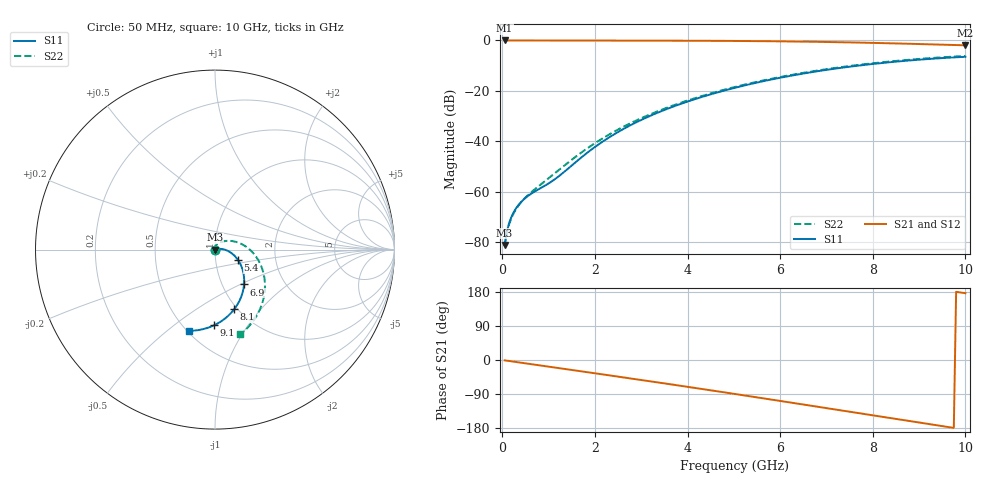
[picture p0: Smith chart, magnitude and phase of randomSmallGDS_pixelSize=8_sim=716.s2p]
! freq	dB(S11)	phase(S11)	dB(S12)	phase(S12)
!  dB(S21)	phase(S21)	dB(S22)	phase(S22)
!S-par simulation data
#  GHz  S  DB  R 50
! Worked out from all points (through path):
!   200 points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, 50 MHz to 10 GHz, reference 50 ohm
!   highest |S21| = 0.00 dB at 50 MHz (marker M1); lowest = -1.9 dB at 10 GHz (marker M2)
!   group delay of S21, straight-line fit = 51.3 ps
!   lowest |S11| = -81.2 dB at 50 MHz (marker M3), VSWR 1.00, Z = 50 - j0.00792 ohm
!   |S11| at or under -10 dB: start of sweep to 7.682 GHz
!   |S22| runs from -81.7 to -6.2 dB; largest |S21 - S12| = 0
!   S11 on the Smith chart (normalised r, x): 50 MHz: 1.00, -0.00; 5.4 GHz: 1.28, -0.15; 6.9 GHz: 1.26, -0.52; 8.1 GHz: 0.97, -0.73; 9.1 GHz: 0.69, -0.71; 10 GHz: 0.51, -0.60
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0.05  -81.23 -65.8  -0.00 -0.9  -0.00 -0.9  -81.67 -70.4
0.1  -75.74 -75.1  -0.00 -1.8  -0.00 -1.8  -76.22 -86.1
0.15  -72.35 -77.3  -0.00 -2.6  -0.00 -2.6  -72.82 -94.6
0.2  -69.93 -77.7  -0.00 -3.5  -0.00 -3.5  -70.36 -101.1
0.3  -66.57 -76.1  -0.00 -5.3  -0.00 -5.3  -66.87 -112.1
0.4  -64.25 -73.2  -0.01 -7.0  -0.01 -7.0  -64.36 -122.4
0.6  -61.13 -64.7  -0.01 -10.5  -0.01 -10.5  -60.65 -142.9
1.15  -54.89 -25.4  -0.02 -20.1  -0.02 -20.1  -52.49 161.7
1.75  -45.81 5.6  -0.03 -30.6  -0.03 -30.6  -43.93 119.0
2.1  -40.99 11.1  -0.04 -36.8  -0.04 -36.8  -39.62 102.0
2.5  -36.34 12.0  -0.05 -43.9  -0.05 -43.9  -35.36 86.6
3.4  -28.33 5.1  -0.08 -59.9  -0.08 -59.9  -27.79 59.8
4.25  -22.77 -6.0  -0.12 -75.3  -0.12 -75.3  -22.39 39.1
5.05  -18.66 -18.2  -0.20 -90.1  -0.20 -90.1  -18.35 21.4
5.4  -17.13 -23.9  -0.24 -96.7  -0.24 -96.7  -16.82 14.0
6.05  -14.62 -35.0  -0.35 -109.0  -0.35 -109.0  -14.34 0.5
6.7  -12.52 -46.6  -0.51 -121.4  -0.51 -121.4  -12.25 -12.7
6.9  -11.95 -50.2  -0.57 -125.2  -0.57 -125.2  -11.68 -16.7
8.1  -9.13 -72.2  -1.00 -148.2  -1.00 -148.2  -8.85 -39.9
8.35  -8.67 -76.9  -1.11 -153.0  -1.11 -153.0  -8.38 -44.5
9.1  -7.49 -90.8  -1.47 -167.1  -1.47 -167.1  -7.20 -58.1
10  -6.48 -107.5  -1.92 176.2  -1.92 176.2  -6.15 -73.5
